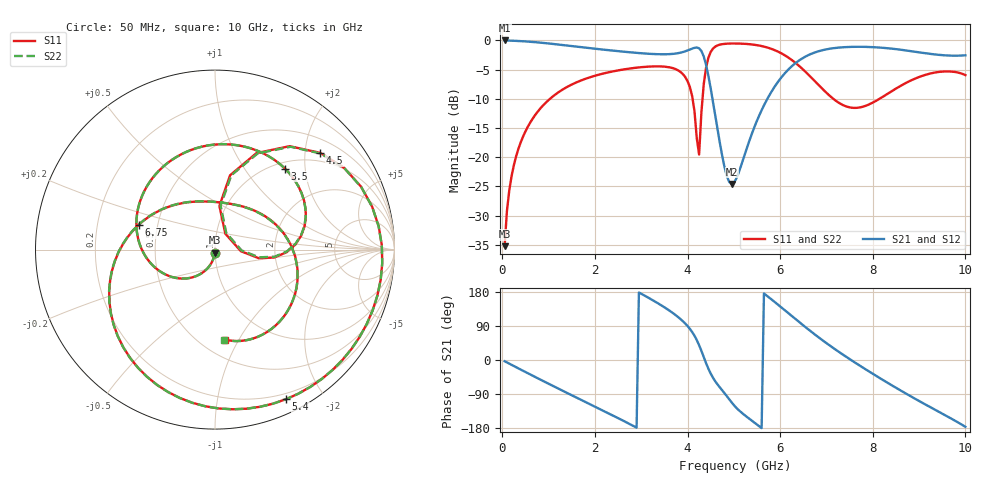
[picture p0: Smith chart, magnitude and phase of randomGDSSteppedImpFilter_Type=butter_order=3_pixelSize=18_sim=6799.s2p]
! freq	dB(S11)	phase(S11)	dB(S12)	phase(S12)
!  dB(S21)	phase(S21)	dB(S22)	phase(S22)
!S-par simulation data
#  GHz  S  DB  R 50
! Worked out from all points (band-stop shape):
!   200 points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, 50 MHz to 10 GHz, reference 50 ohm
!   highest |S21| = 0.00 dB at 50 MHz (marker M1); lowest = -24.6 dB at 4.95 GHz (marker M2)
!   |S21| within 3 dB of the highest: start of sweep to 4.359 GHz; 6.493 GHz to end of sweep
!   lowest |S11| = -35.2 dB at 50 MHz (marker M3), VSWR 1.04, Z = 49.9 - j1.72 ohm
!   |S11| at or under -10 dB: start of sweep to 1.029 GHz; 4.109 GHz to 4.324 GHz (214.6 MHz wide, 5.09 % of centre); 7.148 GHz to 8.145 GHz (996.6 MHz wide, 13 % of centre)
!   |S22| runs from -35.2 to -0.5 dB; largest |S21 - S12| = 0
!   S11 on the Smith chart (normalised r, x): 50 MHz: 1.00, -0.03; 3.5 GHz: 1.12, +1.57; 4.5 GHz: 0.79, +2.34; 5.4 GHz: 0.14, -1.57; 6.75 GHz: 0.39, +0.13; 10 GHz: 0.65, -0.88
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0.05  -35.23 -93.3  -0.00 -3.2  -0.00 -3.2  -35.23 -93.3
0.2  -23.25 -103.3  -0.04 -12.8  -0.04 -12.8  -23.25 -103.3
0.5  -15.58 -122.5  -0.17 -31.7  -0.17 -31.7  -15.57 -122.5
1.1  -9.53 -159.5  -0.60 -68.8  -0.60 -68.8  -9.53 -159.5
1.75  -6.70 161.4  -1.19 -107.9  -1.19 -107.9  -6.70 161.4
2.6  -4.99 109.9  -1.91 -159.4  -1.91 -159.4  -4.99 110.0
3.4  -4.44 56.7  -2.37 146.8  -2.37 146.8  -4.44 56.8
3.5  -4.49 49.2  -2.37 139.2  -2.37 139.2  -4.49 49.3
4  -6.96 3.6  -1.72 89.7  -1.72 89.7  -6.95 4.1
4.25  -19.54 56.9  -1.35 39.1  -1.35 39.1  -19.05 55.6
4.35  -7.49 78.6  -2.74 7.8  -2.74 7.8  -7.45 77.6
4.5  -1.98 42.6  -8.20 -35.8  -8.20 -35.8  -1.97 42.1
4.95  -0.52 -21.0  -24.60 -111.5  -24.60 -111.5  -0.52 -21.2
5.05  -0.52 -31.1  -23.71 -125.7  -23.71 -125.7  -0.52 -31.3
5.4  -0.70 -64.6  -15.75 -161.1  -15.75 -161.1  -0.70 -64.8
6.1  -2.54 -133.2  -5.64 131.4  -5.64 131.4  -2.54 -133.4
6.7  -6.58 167.0  -2.20 71.9  -2.20 71.9  -6.58 166.6
6.75  -6.98 162.1  -2.05 67.2  -2.05 67.2  -6.98 161.8
7.5  -11.46 93.8  -1.11 2.4  -1.11 2.4  -11.46 93.1
8.35  -8.99 26.2  -1.36 -62.4  -1.36 -62.4  -8.98 25.7
9.05  -6.12 -22.1  -2.09 -111.6  -2.09 -111.6  -6.11 -22.5
10  -5.94 -83.6  -2.55 -176.3  -2.55 -176.3  -5.95 -84.1
